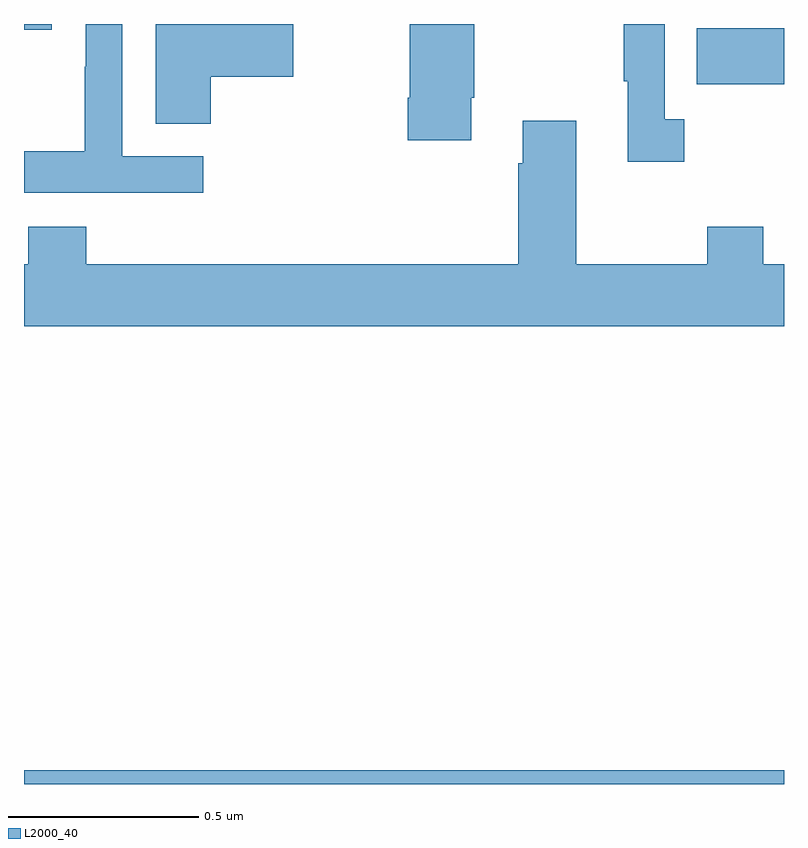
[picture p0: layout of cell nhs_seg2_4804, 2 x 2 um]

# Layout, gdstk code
import gdstk
lib = gdstk.Library(unit=1e-6, precision=1e-09)
def R(c, l, rs):  # rectangles x0, y0, x1, y1
    for r in rs: c.add(gdstk.rectangle(r[:2], r[2:], *l))
def P(c, l, *ps):  # polygons
    for p in ps: c.add(gdstk.Polygon(p, *l))
L2000_40 = (2000, 40)

nhs_seg2_4804 = lib.new_cell('nhs_seg2_4804')
R(nhs_seg2_4804, L2000_40, [(171,611.8,173,611.836), (172.771,613.642,173,613.789), (171,613.785,171.073,613.8)])
P(nhs_seg2_4804, L2000_40, [(171.472,613.452),(171.258,613.452),(171.258,613.8),(171.162,613.8),(171.162,613.688),(171.16,613.688),(171.16,613.465),(171,613.465),(171,613.356),(171.472,613.356)],
  [(172.738,613.55),(172.686,613.55),(172.686,613.8),(172.578,613.8),(172.578,613.649),(172.589,613.649),(172.589,613.437),(172.738,613.437)],
  [(171.491,613.661),(171.709,613.661),(171.709,613.8),(171.347,613.8),(171.347,613.537),(171.491,613.537)],
  [(172.177,613.606),(172.185,613.606),(172.185,613.8),(172.015,613.8),(172.015,613.606),(172.01,613.606),(172.01,613.494),(172.177,613.494)],
  [(173,613.168),(172.945,613.168),(172.945,613.267),(172.798,613.267),(172.798,613.168),(172.453,613.168),(172.453,613.546),(172.313,613.546),(172.313,613.433),(172.301,613.433),(172.301,613.168),(171.164,613.168),(171.164,613.267),(171.011,613.267),(171.011,613.168),(171,613.168),(171,613.004),(173,613.004)])

lib.write_gds('nhs_seg2_4804.gds')
